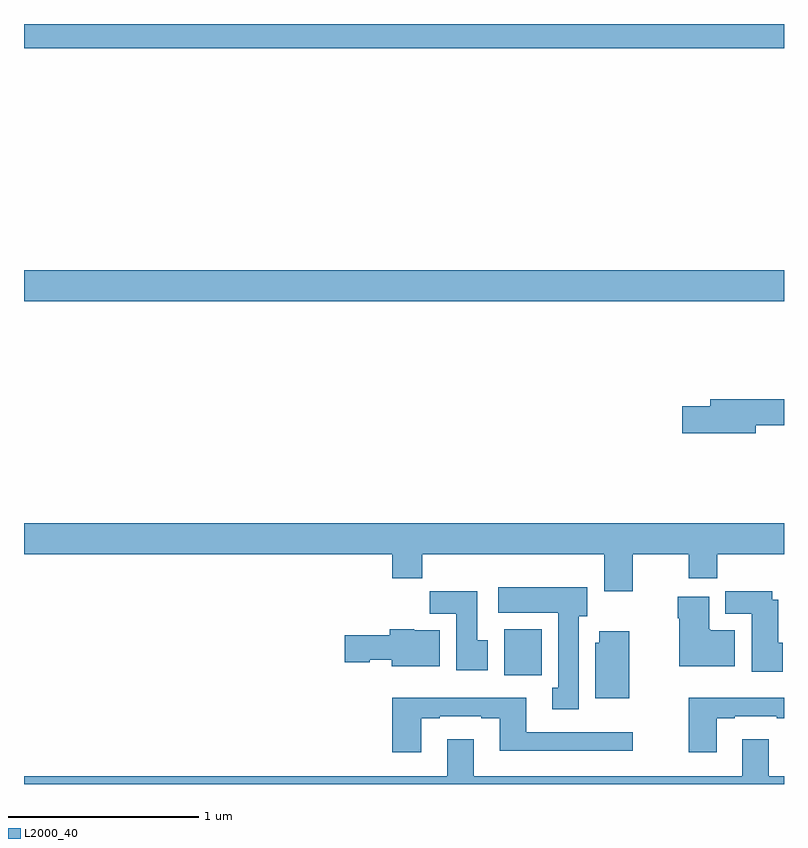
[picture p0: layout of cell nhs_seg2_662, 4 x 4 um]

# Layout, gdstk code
import gdstk
lib = gdstk.Library(unit=1e-6, precision=1e-09)
def R(c, l, rs):  # rectangles x0, y0, x1, y1
    for r in rs: c.add(gdstk.rectangle(r[:2], r[2:], *l))
def P(c, l, *ps):  # polygons
    for p in ps: c.add(gdstk.Polygon(p, *l))
L2000_40 = (2000, 40)

nhs_seg2_662 = lib.new_cell('nhs_seg2_662')
R(nhs_seg2_662, L2000_40, [(147.527,608.372,147.724,608.614), (145,610.34,149,610.504), (145,611.672,149,611.8)])
P(nhs_seg2_662, L2000_40, [(148.852,609.688),(149,609.688),(149,609.824),(148.613,609.824),(148.613,609.788),(148.464,609.788),(148.464,609.646),(148.852,609.646)],
  [(148.203,609.008),(148.498,609.008),(148.498,608.884),(148.649,608.884),(148.649,609.008),(149,609.008),(149,609.172),(145,609.172),(145,609.008),(146.939,609.008),(146.939,608.884),(147.095,608.884),(147.095,609.008),(148.055,609.008),(148.055,608.814),(148.203,608.814)],
  [(147.919,608.682),(147.964,608.682),(147.964,608.836),(147.495,608.836),(147.495,608.702),(147.812,608.702),(147.812,608.306),(147.779,608.306),(147.779,608.193),(147.919,608.193)],
  [(147.442,608.556),(147.385,608.556),(147.385,608.815),(147.136,608.815),(147.136,608.696),(147.275,608.696),(147.275,608.4),(147.442,608.4)],
  [(148.993,608.544),(148.969,608.544),(148.969,608.77),(148.939,608.77),(148.939,608.814),(148.691,608.814),(148.691,608.696),(148.829,608.696),(148.829,608.39),(148.993,608.39)],
  [(148.741,608.608),(148.612,608.608),(148.612,608.614),(148.606,608.614),(148.606,608.785),(148.441,608.785),(148.441,608.672),(148.448,608.672),(148.448,608.42),(148.741,608.42)],
  [(147.187,608.608),(147.054,608.608),(147.054,608.614),(146.924,608.614),(146.924,608.583),(146.688,608.583),(146.688,608.441),(146.82,608.441),(146.82,608.453),(146.936,608.453),(146.936,608.42),(147.187,608.42)],
  [(148.186,608.605),(148.028,608.605),(148.028,608.544),(148.007,608.544),(148.007,608.252),(148.186,608.252)],
  [(148.645,608.145),(148.741,608.145),(148.741,608.157),(148.961,608.157),(148.961,608.145),(149,608.145),(149,608.254),(148.498,608.254),(148.498,607.968),(148.645,607.968)],
  [(147.091,608.145),(147.187,608.145),(147.187,608.157),(147.407,608.157),(147.407,608.145),(147.503,608.145),(147.503,607.976),(148.204,607.976),(148.204,608.073),(147.643,608.073),(147.643,608.254),(146.939,608.254),(146.939,607.968),(147.091,607.968)],
  [(149,607.84),(148.921,607.84),(148.921,608.035),(148.781,608.035),(148.781,607.84),(147.367,607.84),(147.367,608.035),(147.227,608.035),(147.227,607.84),(145,607.84),(145,607.8),(149,607.8)])

lib.write_gds('nhs_seg2_662.gds')
